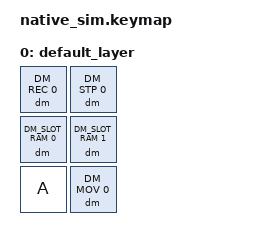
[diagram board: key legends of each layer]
#include <dt-bindings/zmk/keys.h>
#include <behaviors.dtsi>
#include <dt-bindings/zmk/kscan_mock.h>
#include <behaviors/dynamic_macro.dtsi>
#include <dt-bindings/zmk/dynamic_macros.h>

/*
 * Move cancel event coverage: MOVE_PROMPT -> MOVE_SRC_SELECTED -> (press the
 * source slot again) -> MOVE_CANCELLED, leaving the macro in place. Records one
 * event into RAM slot 0, assigns it, enters move mode, selects slot 0 as source,
 * then presses slot 0 again to cancel.
 *
 * PERSIST=n forces NVS_SLOTS=0, so DM_SLOT_RAM 0 is machine slot 0. FEEDBACK_OFF
 * so the only stream is the dm_event notifications.
 *
 * Key layout (3 rows x 2 cols):
 *   (0,0)=REC        (0,1)=STP
 *   (1,0)=RAM slot 0 (1,1)=RAM slot 1
 *   (2,0)=A          (2,1)=MOV
 */

&kscan {
    rows = <3>;
    columns = <2>;
    exit-after;
    events = <
        /* REC */
        ZMK_MOCK_PRESS(0,0,10)
        ZMK_MOCK_RELEASE(0,0,10)
        /* A (recorded) */
        ZMK_MOCK_PRESS(2,0,10)
        ZMK_MOCK_RELEASE(2,0,10)
        /* STP -> assign-pending */
        ZMK_MOCK_PRESS(0,1,10)
        ZMK_MOCK_RELEASE(0,1,10)
        /* RAM slot 0 (assign) */
        ZMK_MOCK_PRESS(1,0,10)
        ZMK_MOCK_RELEASE(1,0,10)
        /* MOV (enter move mode) */
        ZMK_MOCK_PRESS(2,1,10)
        ZMK_MOCK_RELEASE(2,1,10)
        /* RAM slot 0 (select source) */
        ZMK_MOCK_PRESS(1,0,10)
        ZMK_MOCK_RELEASE(1,0,10)
        /* RAM slot 0 again (same slot -> cancel) */
        ZMK_MOCK_PRESS(1,0,10)
        ZMK_MOCK_RELEASE(1,0,10)
    >;
};

/ {
    keymap {
        compatible = "zmk,keymap";
        default_layer {
            bindings = <
                &dm DM_REC 0      &dm DM_STP 0
                &dm DM_SLOT_RAM 0 &dm DM_SLOT_RAM 1
                &kp A             &dm DM_MOV 0
            >;
        };
    };
};
